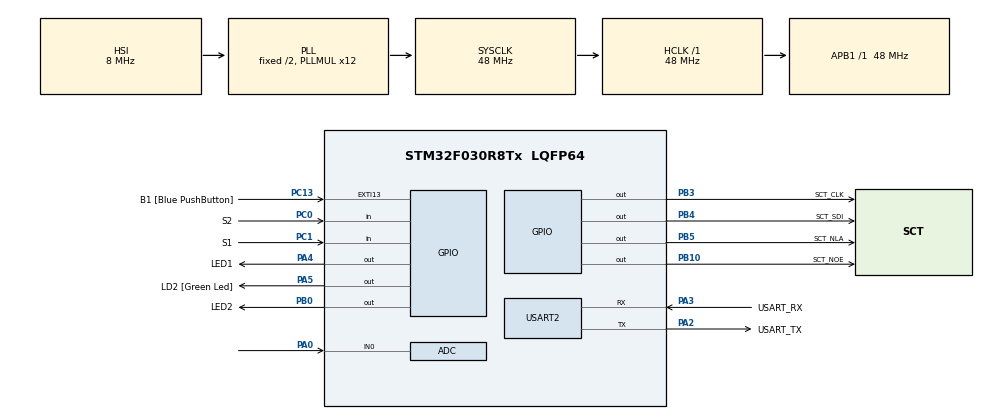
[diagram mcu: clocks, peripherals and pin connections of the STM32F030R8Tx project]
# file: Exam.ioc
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ADC.ContinuousConvMode=ENABLE
ADC.Overrun=ADC_OVR_DATA_OVERWRITTEN
ADC.SamplingTime=ADC_SAMPLETIME_239CYCLES_5
Mcu.Family=STM32F0
Mcu.Name=STM32F030R8Tx
Mcu.Package=LQFP64
NVIC.ADC1_IRQn=true\:0\:0\:false\:false\:true\:true\:true\:true
PA0.Mode=IN0
PA0.Signal=ADC_IN0
PA13.GPIO_Label=TMS
PA13.Mode=Serial_Wire
PA13.Signal=SYS_SWDIO
PA14.GPIO_Label=TCK
PA14.Mode=Serial_Wire
PA14.Signal=SYS_SWCLK
PA2.GPIO_Label=USART_TX
PA2.GPIO_Mode=GPIO_MODE_AF_PP
PA2.GPIO_PuPd=GPIO_NOPULL
PA2.GPIO_Speed=GPIO_SPEED_FREQ_LOW
PA2.Mode=Asynchronous
PA2.Signal=USART2_TX
PA3.GPIO_Label=USART_RX
PA3.GPIO_Mode=GPIO_MODE_AF_PP
PA3.GPIO_PuPd=GPIO_NOPULL
PA3.GPIO_Speed=GPIO_SPEED_FREQ_LOW
PA3.Mode=Asynchronous
PA3.Signal=USART2_RX
PA4.GPIO_Label=LED1
PA4.Signal=GPIO_Output
PA5.GPIO_Label=LD2 [Green Led]
PA5.GPIO_Mode=GPIO_MODE_OUTPUT_PP
PA5.GPIO_PuPd=GPIO_NOPULL
PA5.GPIO_Speed=GPIO_SPEED_FREQ_LOW
PA5.Signal=GPIO_Output
PB0.GPIO_Label=LED2
PB0.Signal=GPIO_Output
PB10.GPIO_Label=SCT_NOE
PB10.Signal=GPIO_Output
PB3.GPIO_Label=SCT_CLK
PB3.Signal=GPIO_Output
PB4.GPIO_Label=SCT_SDI
PB4.Signal=GPIO_Output
PB5.GPIO_Label=SCT_NLA
PB5.Signal=GPIO_Output
PC0.GPIO_Label=S2
PC0.GPIO_PuPd=GPIO_PULLUP
PC0.Signal=GPIO_Input
PC1.GPIO_Label=S1
PC1.GPIO_PuPd=GPIO_PULLUP
PC1.Signal=GPIO_Input
PC13.GPIO_Label=B1 [Blue PushButton]
PC13.GPIO_ModeDefaultEXTI=GPIO_MODE_IT_FALLING
PC13.Signal=GPXTI13
PC14-OSC32_IN.Mode=LSE-External-Oscillator
PC14-OSC32_IN.Signal=RCC_OSC32_IN
PC15-OSC32_OUT.Mode=LSE-External-Oscillator
PC15-OSC32_OUT.Signal=RCC_OSC32_OUT
PF0-OSC_IN.Mode=HSE-External-Clock-Source
PF0-OSC_IN.Signal=RCC_OSC_IN
PF1-OSC_OUT.Signal=RCC_OSC_OUT
ProjectManager.HeapSize=0x200
ProjectManager.StackSize=0x400
ProjectManager.TargetToolchain=STM32CubeIDE
RCC.AHBFreq_Value=48000000
RCC.APB1Freq_Value=48000000
RCC.APB1TimFreq_Value=48000000
RCC.HCLKFreq_Value=48000000
RCC.PLLMUL=RCC_PLL_MUL12
RCC.SYSCLKFreq_VALUE=48000000
RCC.SYSCLKSource=RCC_SYSCLKSOURCE_PLLCLK
USART2.VirtualMode-Asynchronous=VM_ASYNC
board=NUCLEO-F030R8

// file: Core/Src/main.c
/* USER CODE BEGIN Header */
/**
 ******************************************************************************
 * @file           : main.c
 * @brief          : Main program body
 ******************************************************************************
 * @attention
 *
 * Copyright (c) 2024 STMicroelectronics.
 * All rights reserved.
 *
 * This software is licensed under terms that can be found in the LICENSE file
 * in the root directory of this software component.
 * If no LICENSE file comes with this software, it is provided AS-IS.
 *
 ******************************************************************************
 */
/* USER CODE END Header */
#include "main.h"

/* USER CODE BEGIN Includes */
#include "sct.h"
/* USER CODE END Includes */

/* USER CODE BEGIN PD */
#define BUTTON_SAMPL_PERIOD 40
/* USER CODE END PD */

ADC_HandleTypeDef hadc;

UART_HandleTypeDef huart2;

/* USER CODE BEGIN PV */
static volatile uint32_t raw_pot;
static enum { MOVE_CW, MOVE_CCW } state = MOVE_CW;
/* USER CODE END PV */

void SystemClock_Config(void);
static void MX_GPIO_Init(void);
static void MX_USART2_UART_Init(void);
static void MX_ADC_Init(void);

/* USER CODE BEGIN 0 */
void HAL_ADC_ConvCpltCallback(ADC_HandleTypeDef* hadc)
{
	raw_pot = HAL_ADC_GetValue(hadc);
}
/* USER CODE END 0 */

int main(void)
{

	/* MCU Configuration--------------------------------------------------------*/

	/* Reset of all peripherals, Initializes the Flash interface and the Systick. */
	HAL_Init();

	/* Configure the system clock */
	SystemClock_Config();

	/* Initialize all configured peripherals */
	MX_GPIO_Init();
	MX_USART2_UART_Init();
	MX_ADC_Init();
	/* USER CODE BEGIN 2 */
	sct_init();
	HAL_ADCEx_Calibration_Start(&hadc);
	HAL_ADC_Start_IT(&hadc);
	HAL_GPIO_WritePin(LED2_GPIO_Port, LED2_Pin, 1);
	/* USER CODE END 2 */

	/* Infinite loop */
	/* USER CODE BEGIN WHILE */
	while (1)
	{
		static uint32_t delay_s1;
		static uint32_t delay_s2;
		static uint32_t delay_state;
		static uint32_t tick;

		static uint8_t pos = 0; // Define the starting position of the edge segment (0 at bottom left, 9 at bottom mid)

		uint32_t scaled_pot = (20 + (raw_pot*(300 - 20))/4095); // Get scaled potentiometer values
		tick = HAL_GetTick(); // Get tick in miliseconds

		// Implement buttons
		if (tick > delay_s2 + BUTTON_SAMPL_PERIOD) {
			delay_s2 = tick;
			if (HAL_GPIO_ReadPin(S2_GPIO_Port, S2_Pin) == 0) {
				HAL_GPIO_WritePin(LED1_GPIO_Port, LED1_Pin, 1);
				HAL_GPIO_WritePin(LED2_GPIO_Port, LED2_Pin, 0);
				state = MOVE_CCW;
			}
		}

		if (tick > delay_s1 + BUTTON_SAMPL_PERIOD) {
			delay_s1 = tick;
			if (HAL_GPIO_ReadPin(S1_GPIO_Port, S1_Pin) == 0) {
				HAL_GPIO_WritePin(LED2_GPIO_Port, LED2_Pin, 1);
				HAL_GPIO_WritePin(LED1_GPIO_Port, LED1_Pin, 0);
				state = MOVE_CW;
			}
		}

		// Implement the state machine
		if (tick > delay_state + scaled_pot) {
			delay_state = tick;
			switch(state) {
			case MOVE_CW:
				if (pos < 9) {
					sct_value(pos++);
				} else {
					sct_value(pos);
					pos = 0;
				}
				break;
			case MOVE_CCW:
				if (pos > 0) {
					sct_value(pos--);
				} else {
					sct_value(pos);
					pos = 9;
				}
				break;
			default:
				break;
			}
		}
		/* USER CODE END WHILE */

	}
}

void SystemClock_Config(void)
{
	RCC_OscInitTypeDef RCC_OscInitStruct = {0};
	RCC_ClkInitTypeDef RCC_ClkInitStruct = {0};

	/** Initializes the RCC Oscillators according to the specified parameters
	 * in the RCC_OscInitTypeDef structure.
	 */
	RCC_OscInitStruct.OscillatorType = RCC_OSCILLATORTYPE_HSI|RCC_OSCILLATORTYPE_HSI14;
	RCC_OscInitStruct.HSIState = RCC_HSI_ON;
	RCC_OscInitStruct.HSI14State = RCC_HSI14_ON;
	RCC_OscInitStruct.HSICalibrationValue = RCC_HSICALIBRATION_DEFAULT;
	RCC_OscInitStruct.HSI14CalibrationValue = 16;
	RCC_OscInitStruct.PLL.PLLState = RCC_PLL_ON;
	RCC_OscInitStruct.PLL.PLLSource = RCC_PLLSOURCE_HSI;
	RCC_OscInitStruct.PLL.PLLMUL = RCC_PLL_MUL12;
	RCC_OscInitStruct.PLL.PREDIV = RCC_PREDIV_DIV1;
	if (HAL_RCC_OscConfig(&RCC_OscInitStruct) != HAL_OK)
	{
		Error_Handler();
	}

	/** Initializes the CPU, AHB and APB buses clocks
	 */
	RCC_ClkInitStruct.ClockType = RCC_CLOCKTYPE_HCLK|RCC_CLOCKTYPE_SYSCLK
			|RCC_CLOCKTYPE_PCLK1;
	RCC_ClkInitStruct.SYSCLKSource = RCC_SYSCLKSOURCE_PLLCLK;
	RCC_ClkInitStruct.AHBCLKDivider = RCC_SYSCLK_DIV1;
	RCC_ClkInitStruct.APB1CLKDivider = RCC_HCLK_DIV1;

	if (HAL_RCC_ClockConfig(&RCC_ClkInitStruct, FLASH_LATENCY_1) != HAL_OK)
	{
		Error_Handler();
	}
}

static void MX_ADC_Init(void)
{

	ADC_ChannelConfTypeDef sConfig = {0};

	/** Configure the global features of the ADC (Clock, Resolution, Data Alignment and number of conversion)
	 */
	hadc.Instance = ADC1;
	hadc.Init.ClockPrescaler = ADC_CLOCK_ASYNC_DIV1;
	hadc.Init.Resolution = ADC_RESOLUTION_12B;
	hadc.Init.DataAlign = ADC_DATAALIGN_RIGHT;
	hadc.Init.ScanConvMode = ADC_SCAN_DIRECTION_FORWARD;
	hadc.Init.EOCSelection = ADC_EOC_SINGLE_CONV;
	hadc.Init.LowPowerAutoWait = DISABLE;
	hadc.Init.LowPowerAutoPowerOff = DISABLE;
	hadc.Init.ContinuousConvMode = ENABLE;
	hadc.Init.DiscontinuousConvMode = DISABLE;
	hadc.Init.ExternalTrigConv = ADC_SOFTWARE_START;
	hadc.Init.ExternalTrigConvEdge = ADC_EXTERNALTRIGCONVEDGE_NONE;
	hadc.Init.DMAContinuousRequests = DISABLE;
	hadc.Init.Overrun = ADC_OVR_DATA_OVERWRITTEN;
	if (HAL_ADC_Init(&hadc) != HAL_OK)
	{
		Error_Handler();
	}

	/** Configure for the selected ADC regular channel to be converted.
	 */
	sConfig.Channel = ADC_CHANNEL_0;
	sConfig.Rank = ADC_RANK_CHANNEL_NUMBER;
	sConfig.SamplingTime = ADC_SAMPLETIME_239CYCLES_5;
	if (HAL_ADC_ConfigChannel(&hadc, &sConfig) != HAL_OK)
	{
		Error_Handler();
	}

}

static void MX_USART2_UART_Init(void)
{

	huart2.Instance = USART2;
	huart2.Init.BaudRate = 38400;
	huart2.Init.WordLength = UART_WORDLENGTH_8B;
	huart2.Init.StopBits = UART_STOPBITS_1;
	huart2.Init.Parity = UART_PARITY_NONE;
	huart2.Init.Mode = UART_MODE_TX_RX;
	huart2.Init.HwFlowCtl = UART_HWCONTROL_NONE;
	huart2.Init.OverSampling = UART_OVERSAMPLING_16;
	huart2.Init.OneBitSampling = UART_ONE_BIT_SAMPLE_DISABLE;
	huart2.AdvancedInit.AdvFeatureInit = UART_ADVFEATURE_NO_INIT;
	if (HAL_UART_Init(&huart2) != HAL_OK)
	{
		Error_Handler();
	}

}

static void MX_GPIO_Init(void)
{
	GPIO_InitTypeDef GPIO_InitStruct = {0};

	/* GPIO Ports Clock Enable */
	__HAL_RCC_GPIOC_CLK_ENABLE();
	__HAL_RCC_GPIOF_CLK_ENABLE();
	__HAL_RCC_GPIOA_CLK_ENABLE();
	__HAL_RCC_GPIOB_CLK_ENABLE();

	/*Configure GPIO pin Output Level */
	HAL_GPIO_WritePin(GPIOA, LED1_Pin|LD2_Pin, GPIO_PIN_RESET);

	/*Configure GPIO pin Output Level */
	HAL_GPIO_WritePin(GPIOB, LED2_Pin|SCT_NOE_Pin|SCT_CLK_Pin|SCT_SDI_Pin
			|SCT_NLA_Pin, GPIO_PIN_RESET);

	/*Configure GPIO pin : B1_Pin */
	GPIO_InitStruct.Pin = B1_Pin;
	GPIO_InitStruct.Mode = GPIO_MODE_IT_FALLING;
	GPIO_InitStruct.Pull = GPIO_NOPULL;
	HAL_GPIO_Init(B1_GPIO_Port, &GPIO_InitStruct);

	/*Configure GPIO pins : S2_Pin S1_Pin */
	GPIO_InitStruct.Pin = S2_Pin|S1_Pin;
	GPIO_InitStruct.Mode = GPIO_MODE_INPUT;
	GPIO_InitStruct.Pull = GPIO_PULLUP;
	HAL_GPIO_Init(GPIOC, &GPIO_InitStruct);

	/*Configure GPIO pins : LED1_Pin LD2_Pin */
	GPIO_InitStruct.Pin = LED1_Pin|LD2_Pin;
	GPIO_InitStruct.Mode = GPIO_MODE_OUTPUT_PP;
	GPIO_InitStruct.Pull = GPIO_NOPULL;
	GPIO_InitStruct.Speed = GPIO_SPEED_FREQ_LOW;
	HAL_GPIO_Init(GPIOA, &GPIO_InitStruct);

	/*Configure GPIO pins : LED2_Pin SCT_NOE_Pin SCT_CLK_Pin SCT_SDI_Pin
                           SCT_NLA_Pin */
	GPIO_InitStruct.Pin = LED2_Pin|SCT_NOE_Pin|SCT_CLK_Pin|SCT_SDI_Pin
			|SCT_NLA_Pin;
	GPIO_InitStruct.Mode = GPIO_MODE_OUTPUT_PP;
	GPIO_InitStruct.Pull = GPIO_NOPULL;
	GPIO_InitStruct.Speed = GPIO_SPEED_FREQ_LOW;
	HAL_GPIO_Init(GPIOB, &GPIO_InitStruct);

}

void Error_Handler(void)
{
	__disable_irq();
	while (1)
	{
	}
}
